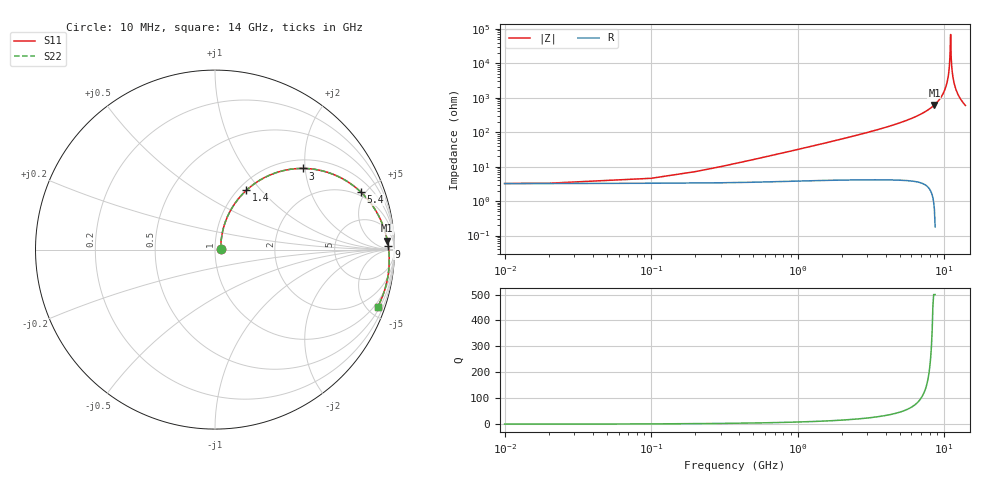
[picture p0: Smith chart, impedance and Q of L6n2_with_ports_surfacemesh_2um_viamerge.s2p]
#  GHZ S DB R 50.0
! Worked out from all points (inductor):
!   142 points, 10 MHz to 14 GHz, reference 50 ohm
!   read as one part in series: L = 4.97 nH near 400 MHz
!   highest Q = 1.07e+03 at 8.6 GHz (marker M1), where L = 11.4 nH
!   self-resonance near 11 GHz
!   S11 on the Smith chart (normalised r, x): 10 MHz: 1.06, +0.01; 1.4 GHz: 1.09, +0.84; 3 GHz: 1.19, +1.95; 5.4 GHz: 1.72, +4.65; 9 GHz: 45, +24; 14 GHz: 0.68, -5.73
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0.01  -30.07 5.3  -0.28 -0.2  -0.28 -0.2  -30.07 5.3
0.3  -20.94 64.6  -0.34 -5.6  -0.34 -5.6  -20.94 64.6
0.5  -16.86 69.2  -0.43 -9.2  -0.43 -9.2  -16.86 69.2
1.4  -8.53 62.1  -1.11 -23.9  -1.11 -23.9  -8.53 62.1
2.4  -4.80 49.6  -2.30 -38.1  -2.30 -38.1  -4.80 49.6
3  -3.52 42.7  -3.19 -45.5  -3.19 -45.5  -3.52 42.7
4.7  -1.59 26.8  -6.14 -62.2  -6.14 -62.2  -1.59 26.8
5.4  -1.17 21.5  -7.51 -67.7  -7.51 -67.7  -1.17 21.5
7.1  -0.58 10.8  -11.41 -78.8  -11.41 -78.8  -0.58 10.8
8.6  -0.34 3.0  -16.10 -87.0  -16.10 -87.0  -0.34 3.0
9  -0.30 1.1  -17.76 -89.1  -17.76 -89.1  -0.30 1.1
9.4  -0.27 -0.8  -19.74 -91.1  -19.74 -91.1  -0.27 -0.8
10.2  -0.23 -4.3  -25.57 -95.3  -25.57 -95.3  -0.23 -4.3
10.7  -0.22 -6.5  -32.92 -99.2  -32.92 -99.2  -0.22 -6.5
10.9  -0.22 -7.3  -39.28 -103.2  -39.28 -103.2  -0.22 -7.3
11  -0.22 -7.7  -45.83 -110.6  -45.83 -110.6  -0.22 -7.7
11.1  -0.22 -8.1  -57.02 136.9  -57.02 136.9  -0.22 -8.1
11.2  -0.22 -8.6  -43.52 91.6  -43.52 91.6  -0.22 -8.6
11.3  -0.22 -9.0  -38.17 86.5  -38.17 86.5  -0.22 -9.0
11.7  -0.23 -10.6  -29.14 81.4  -29.14 81.4  -0.23 -10.6
12.6  -0.26 -14.2  -21.51 76.6  -21.51 76.6  -0.26 -14.1
14  -0.35 -19.5  -16.08 70.7  -16.08 70.7  -0.35 -19.5
